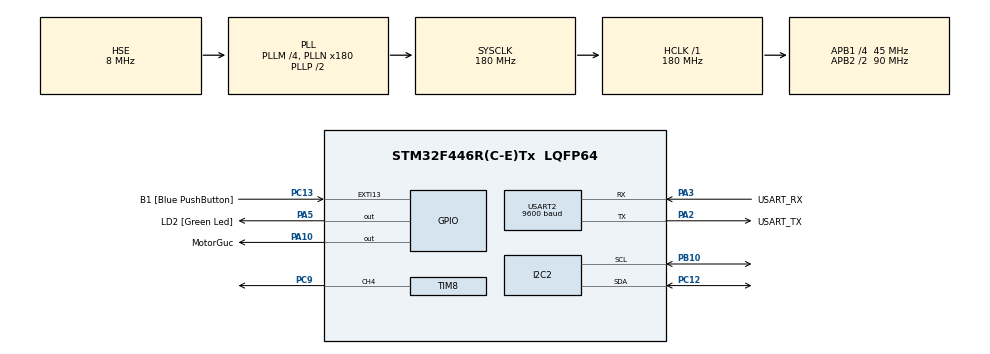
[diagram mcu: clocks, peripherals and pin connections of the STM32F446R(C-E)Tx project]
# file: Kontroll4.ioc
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FREERTOS.BinarySemaphores01=semp,Dynamic,NULL,Available
FREERTOS.Queues01=SharedData,16,uint16_t,0,Dynamic,NULL,NULL
FREERTOS.Tasks01=defaultTask,24,1024,Verileri,Default,NULL,Dynamic,NULL,NULL;myTask02,8,1024,MotorKontrol,Default,NULL,Dynamic,NULL,NULL
FREERTOS.configUSE_NEWLIB_REENTRANT=1
Mcu.Family=STM32F4
Mcu.Name=STM32F446R(C-E)Tx
Mcu.Package=LQFP64
NVIC.PriorityGroup=NVIC_PRIORITYGROUP_4
NVIC.TIM7_IRQn=true\:15\:0\:false\:false\:true\:false\:false\:true\:true
NVIC.TimeBase=TIM7_IRQn
NVIC.TimeBaseIP=TIM7
PA10.GPIO_Label=MotorGuc
PA10.Signal=GPIO_Output
PA13.GPIO_Label=TMS
PA13.Signal=SYS_JTMS-SWDIO
PA14.GPIO_Label=TCK
PA14.Signal=SYS_JTCK-SWCLK
PA2.GPIO_Label=USART_TX
PA2.Mode=Asynchronous
PA2.Signal=USART2_TX
PA3.GPIO_Label=USART_RX
PA3.Mode=Asynchronous
PA3.Signal=USART2_RX
PA5.GPIO_Label=LD2 [Green Led]
PA5.Signal=GPIO_Output
PB10.Mode=I2C
PB10.Signal=I2C2_SCL
PB3.GPIO_Label=SWO
PB3.Signal=SYS_JTDO-SWO
PC12.Mode=I2C
PC12.Signal=I2C2_SDA
PC13.GPIO_Label=B1 [Blue PushButton]
PC13.GPIO_ModeDefaultEXTI=GPIO_MODE_IT_FALLING
PC13.Signal=GPXTI13
PC14-OSC32_IN.Signal=RCC_OSC32_IN
PC15-OSC32_OUT.Signal=RCC_OSC32_OUT
PC9.Signal=S_TIM8_CH4
PH0-OSC_IN.Mode=HSE-External-Oscillator
PH0-OSC_IN.Signal=RCC_OSC_IN
PH1-OSC_OUT.Mode=HSE-External-Oscillator
PH1-OSC_OUT.Signal=RCC_OSC_OUT
ProjectManager.HeapSize=0x200
ProjectManager.StackSize=0x400
ProjectManager.TargetToolchain=STM32CubeIDE
RCC.48MHZClocksFreq_Value=84000000
RCC.AHBFreq_Value=180000000
RCC.APB1CLKDivider=RCC_HCLK_DIV4
RCC.APB1Freq_Value=45000000
RCC.APB1TimFreq_Value=90000000
RCC.APB2CLKDivider=RCC_HCLK_DIV2
RCC.APB2Freq_Value=90000000
RCC.APB2TimFreq_Value=180000000
RCC.CortexFreq_Value=180000000
RCC.FLatency-AdvancedSettings=FLASH_LATENCY_5
RCC.HCLKFreq_Value=180000000
RCC.HSE_VALUE=8000000
RCC.HSI_VALUE=16000000
RCC.PLLM=4
RCC.PLLN=180
RCC.PLLSourceVirtual=RCC_PLLSOURCE_HSE
RCC.SYSCLKFreq_VALUE=180000000
RCC.SYSCLKSource=RCC_SYSCLKSOURCE_PLLCLK
RCC.USBFreq_Value=180000000
RCC.VCOOutputFreq_Value=360000000
SH.S_TIM8_CH4.0=TIM8_CH4,PWM Generation4 CH4
TIM8.Channel-PWM\ Generation4\ CH4=TIM_CHANNEL_4
USART2.BaudRate=9600
USART2.VirtualMode=VM_ASYNC
VP_FREERTOS_VS_CMSIS_V2.Mode=CMSIS_V2
VP_SYS_VS_tim7.Mode=TIM7
VP_TIM8_VS_ClockSourceINT.Mode=Internal
board=NUCLEO-F446RE

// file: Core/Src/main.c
/* USER CODE BEGIN Header */
/**
  ******************************************************************************
  * File Name          : freertos.c
  * Description        : Code for freertos applications
  ******************************************************************************
  * @attention
  *
  * Copyright (c) 2025 STMicroelectronics.
  * All rights reserved.
  *
  * This software is licensed under terms that can be found in the LICENSE file
  * in the root directory of this software component.
  * If no LICENSE file comes with this software, it is provided AS-IS.
  *
  ******************************************************************************
  */
/* USER CODE END Header */
#include "main.h"
#include "cmsis_os.h"
#include "i2c.h"
#include "tim.h"
#include "usart.h"
#include "gpio.h"

/* USER CODE BEGIN Includes */
#include "tanimlama.h"

/* USER CODE END Includes */

void SystemClock_Config(void);
void MX_FREERTOS_Init(void);

int main(void)
{

  /* MCU Configuration--------------------------------------------------------*/

  /* Reset of all peripherals, Initializes the Flash interface and the Systick. */
  HAL_Init();

  /* Configure the system clock */
  SystemClock_Config();

  /* Initialize all configured peripherals */
  MX_GPIO_Init();
  MX_USART2_UART_Init();
  MX_I2C2_Init();
  MX_TIM8_Init();

  /* Init scheduler */
  osKernelInitialize();  /* Call init function for freertos objects (in cmsis_os2.c) */
  MX_FREERTOS_Init();

  /* Start scheduler */
  osKernelStart();

  /* We should never get here as control is now taken by the scheduler */

  /* Infinite loop */
  while (1)
  {

  }
}

void SystemClock_Config(void)
{
  RCC_OscInitTypeDef RCC_OscInitStruct = {0};
  RCC_ClkInitTypeDef RCC_ClkInitStruct = {0};

  /** Configure the main internal regulator output voltage
  */
  __HAL_RCC_PWR_CLK_ENABLE();
  __HAL_PWR_VOLTAGESCALING_CONFIG(PWR_REGULATOR_VOLTAGE_SCALE1);

  /** Initializes the RCC Oscillators according to the specified parameters
  * in the RCC_OscInitTypeDef structure.
  */
  RCC_OscInitStruct.OscillatorType = RCC_OSCILLATORTYPE_HSE;
  RCC_OscInitStruct.HSEState = RCC_HSE_ON;
  RCC_OscInitStruct.PLL.PLLState = RCC_PLL_ON;
  RCC_OscInitStruct.PLL.PLLSource = RCC_PLLSOURCE_HSE;
  RCC_OscInitStruct.PLL.PLLM = 4;
  RCC_OscInitStruct.PLL.PLLN = 180;
  RCC_OscInitStruct.PLL.PLLP = RCC_PLLP_DIV2;
  RCC_OscInitStruct.PLL.PLLQ = 2;
  RCC_OscInitStruct.PLL.PLLR = 2;
  if (HAL_RCC_OscConfig(&RCC_OscInitStruct) != HAL_OK)
  {
    Error_Handler();
  }

  /** Activate the Over-Drive mode
  */
  if (HAL_PWREx_EnableOverDrive() != HAL_OK)
  {
    Error_Handler();
  }

  /** Initializes the CPU, AHB and APB buses clocks
  */
  RCC_ClkInitStruct.ClockType = RCC_CLOCKTYPE_HCLK|RCC_CLOCKTYPE_SYSCLK
                              |RCC_CLOCKTYPE_PCLK1|RCC_CLOCKTYPE_PCLK2;
  RCC_ClkInitStruct.SYSCLKSource = RCC_SYSCLKSOURCE_PLLCLK;
  RCC_ClkInitStruct.AHBCLKDivider = RCC_SYSCLK_DIV1;
  RCC_ClkInitStruct.APB1CLKDivider = RCC_HCLK_DIV4;
  RCC_ClkInitStruct.APB2CLKDivider = RCC_HCLK_DIV2;

  if (HAL_RCC_ClockConfig(&RCC_ClkInitStruct, FLASH_LATENCY_5) != HAL_OK)
  {
    Error_Handler();
  }
}

void HAL_TIM_PeriodElapsedCallback(TIM_HandleTypeDef *htim)
{
  if (htim->Instance == TIM7)
  {
    HAL_IncTick();
  }
}

void Error_Handler(void)
{
  __disable_irq();
  while (1)
  {
  }
}

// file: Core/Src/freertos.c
/* USER CODE BEGIN Header */
/**
  ******************************************************************************
  * File Name          : freertos.c
  * Description        : Code for freertos applications
  ******************************************************************************
  * @attention
  *
  * Copyright (c) 2025 STMicroelectronics.
  * All rights reserved.
  *
  * This software is licensed under terms that can be found in the LICENSE file
  * in the root directory of this software component.
  * If no LICENSE file comes with this software, it is provided AS-IS.
  *
  ******************************************************************************
  */
/* USER CODE END Header */

/* SİSTEMİN PID AYARLARI motorFonk.h DOSYASO İÇERİSİNDE KP,Ki ve Kd  DEĞERLERİNİ DEĞİŞTİREBİLİRSİNİZ */

#include "FreeRTOS.h"
#include "task.h"
#include "main.h"
#include "cmsis_os.h"

/* USER CODE BEGIN Includes */
#include "tanimlama.h"
#include "motorFonk.h"
#include "queue.h"

/* USER CODE END Includes */

/* Definitions for defaultTask */
osThreadId_t defaultTaskHandle;
const osThreadAttr_t defaultTask_attributes = {
  .name = "defaultTask",
  .stack_size = 1024 * 4,
  .priority = (osPriority_t) osPriorityNormal,
};
/* Definitions for myTask02 */
osThreadId_t myTask02Handle;
const osThreadAttr_t myTask02_attributes = {
  .name = "myTask02",
  .stack_size = 1024 * 4,
  .priority = (osPriority_t) osPriorityLow,
};
/* Definitions for SharedData */
osMessageQueueId_t SharedDataHandle;
const osMessageQueueAttr_t SharedData_attributes = {
  .name = "SharedData"
};
/* Definitions for semp */
osSemaphoreId_t sempHandle;
const osSemaphoreAttr_t semp_attributes = {
  .name = "semp"
};

void Verileri(void *argument);
void MotorKontrol(void *argument);

void MX_FREERTOS_Init(void); /* (MISRA C 2004 rule 8.1) */

void MX_FREERTOS_Init(void) {

  /* Create the semaphores(s) */
  /* creation of semp */
  sempHandle = osSemaphoreNew(1, 1, &semp_attributes);

  /* Create the queue(s) */
  /* creation of SharedData */
  SharedDataHandle = osMessageQueueNew(16, sizeof(Veri_T), &SharedData_attributes);

  /* Create the thread(s) */
  /* creation of defaultTask */
  defaultTaskHandle = osThreadNew(Verileri, NULL, &defaultTask_attributes);

  /* creation of myTask02 */
  myTask02Handle = osThreadNew(MotorKontrol, NULL, &myTask02_attributes);

}

void Verileri(void *argument)
{
  /* USER CODE BEGIN Verileri */

  	ortatanim_t data;
    Veri_T dataT;
    uint8_t buf[12];
    TickType_t ilk = xTaskGetTickCount();

    static float onceki_aci = 0.0f;

     /* Infinite loop */
  for(;;)
  {

    TickType_t son = xTaskGetTickCount();
	  dataT.dt = (son - ilk) / (float)configTICK_RATE_HZ;

    data.i2c_status = HAL_I2C_Mem_Read(&hi2c2,AS5600_I2C_ADDR,AS5600_REG_RAW_ANGLE,I2C_MEMADD_SIZE_8BIT,buf,2,1);

    if (data.i2c_status != HAL_OK)
	  {
    	HAL_GPIO_TogglePin(LD2_GPIO_Port, LD2_Pin);
	      osDelay(GECIKME);
        continue;
	  }

	      data.raw_angle = ((uint16_t)buf[0] << 8 | buf[1]) & 0x0FFF;

        if (data.raw_angle == 0 || data.raw_angle > 4095){                     // hata veri kontrolü
          continue;
        }

	      data.angle_in_degrees = (float)data.raw_angle * 360.0f / 4096.0f;		  // hamverinin dereceye dönüştürüldüğü kısım.

	      if (data.raw_angle == 0 || data.raw_angle > 4095) continue;
	      data.delta = data.angle_in_degrees - onceki_aci;
	      if (data.delta > 180.0f) {				                                    //bu kısım "-" kısmının ayarlandığı kısım. Kaldırılabilir.
	          data.delta -= 360.0f;
	      } else if (data.delta < -180.0f) {
	          data.delta += 360.0f;
	      }

            if (fabs(data.delta) > 100.0f){                                   // 100 dereceden fazla delta? Atla
              continue;
            }

	    	  dataT.sonaci = data.angle_in_degrees;
		      dataT.acisalhiz = data.delta / dataT.dt;

	      if (osSemaphoreAcquire(sempHandle, 10) == osOK){

          osMessageQueuePut(SharedDataHandle, &dataT, 0, 0);
		      osSemaphoreRelease(sempHandle);

	      }

            onceki_aci = data.angle_in_degrees;
            ilk = son;

            osDelay(GECIKME);
//        sprintf(buffer, "Son Aci: %.2f, Acisal Hiz: %.2f\r\n",dataT.sonaci, dataT.acisalhiz);     // kontrol yapmak için burayı açabilirsin. taskler arası veri iletimi kontrolü
//	      HAL_UART_Transmit(&huart2, (uint8_t*)buffer, strlen(buffer), 100);

    osDelay(1);
  }
  /* USER CODE END Verileri */
}

void MotorKontrol(void *argument)
{
  /* USER CODE BEGIN MotorKontrol */
	// int pwmDeger;
	Veri_T dataR;
	  char buffer[50];

  /* Infinite loop */
  for(;;)
  {
	  if (osMessageQueueGet(SharedDataHandle, &dataR, NULL, osWaitForever) == osOK)
	  {
	      if (osSemaphoreAcquire(sempHandle, 10) == osOK)
	      {
//	    	   sprintf(buffer, "Son Aci: %.2f, Acisal Hiz: %.2f\r\n", dataR.sonaci, dataR.acisalhiz);     // burası da kontrol. burası motor_kontrole düzgün veri aktarılıyor mu diye kontrol eder
//	    	   HAL_UART_Transmit(&huart2, (uint8_t*)buffer, strlen(buffer), 10000);
	          motor_kontrol(dataR);
	          osSemaphoreRelease(sempHandle);
	      }
	  }

    osDelay(1);
  }
  /* USER CODE END MotorKontrol */
}
